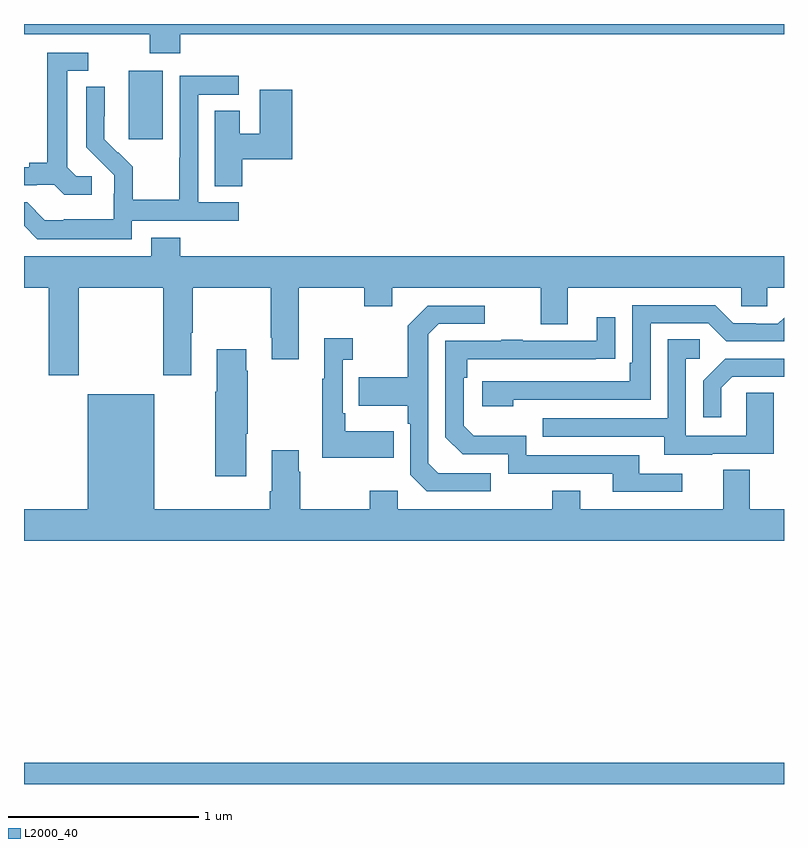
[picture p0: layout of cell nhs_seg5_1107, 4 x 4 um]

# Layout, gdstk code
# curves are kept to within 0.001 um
import gdstk
lib = gdstk.Library(unit=1e-6, precision=1e-09)
def R(c, l, rs):  # rectangles x0, y0, x1, y1
    for r in rs: c.add(gdstk.rectangle(r[:2], r[2:], *l))
def P(c, l, *ps):  # polygons
    for p in ps: c.add(gdstk.Polygon(p, *l))
L2000_40 = (2000, 40)

nhs_seg5_1107 = lib.new_cell('nhs_seg5_1107')
R(nhs_seg5_1107, L2000_40, [(179,868.799,183,868.912), (179.552,872.193,179.731,872.554)])
P(nhs_seg5_1107, L2000_40, [(183,872.799),(179,872.799),(179,872.744),(179.662,872.744),(179.662,872.645),(179.822,872.645),(179.822,872.744),(183,872.744)],
  [(179.356,871.998),(179.274,871.998),(179.227,872.045),(179.227,872.553),(179.338,872.553),(179.338,872.649),(179.123,872.649),(179.123,872.069),(179.027,872.069),(179.027,872.046),(179,872.046),(179,871.95),(179.066,871.95),(179.066,871.953),(179.16,871.953),(179.212,871.901),(179.356,871.901)],
  [(179.568,871.764),(180.13,871.764),(180.13,871.86),(179.916,871.86),(179.916,872.427),(180.13,872.427),(180.13,872.526),(179.82,872.526),(179.82,872.096),(179.818,872.096),(179.818,871.873),(179.573,871.873),(179.573,872.047),(179.496,872.124),(179.493,872.121),(179.423,872.192),(179.424,872.468),(179.328,872.468),(179.328,872.15),(179.474,872.002),(179.474,871.905),(179.472,871.905),(179.472,871.771),(179.209,871.771),(179.209,871.767),(179.109,871.767),(179.016,871.86),(179,871.86),(179,871.738),(179.071,871.667),(179.568,871.667)],
  [(180.149,872.087),(180.413,872.087),(180.413,872.452),(180.242,872.452),(180.242,872.221),(180.136,872.221),(180.136,872.342),(180.005,872.342),(180.005,871.945),(180.149,871.945)],
  [(179.822,871.675),(179.669,871.675),(179.669,871.576),(179,871.576),(179,871.412),(179.129,871.412),(179.129,870.951),(179.289,870.951),(179.289,871.412),(179.734,871.412),(179.734,870.951),(179.881,870.951),(179.881,871.174),(179.889,871.174),(179.889,871.412),(180.298,871.412),(180.298,871.147),(180.305,871.147),(180.305,871.035),(180.445,871.035),(180.445,871.412),(180.79,871.412),(180.79,871.313),(180.937,871.313),(180.937,871.412),(181.721,871.412),(181.721,871.218),(181.861,871.218),(181.861,871.412),(182.775,871.412),(182.775,871.314),(182.913,871.314),(182.913,871.412),(183,871.412),(183,871.576),(179.822,871.576)],
  [(181.574,870.822),(182.298,870.822),(182.298,871.224),(182.601,871.224),(182.697,871.128),(183,871.128),(183,871.254),(182.967,871.221),(182.852,871.221),(182.852,871.224),(182.733,871.224),(182.637,871.32),(182.202,871.32),(182.202,871.015),(182.189,871.015),(182.189,870.918),(181.413,870.918),(181.413,870.788),(181.574,870.788)],
  [(181.456,870.435),(181.179,870.435),(181.128,870.486),(181.128,871.167),(181.182,871.221),(181.426,871.221),(181.426,871.317),(181.125,871.317),(181.02,871.211),(181.02,870.939),(180.763,870.939),(180.763,870.791),(181.02,870.791),(181.02,870.695),(181.032,870.695),(181.032,870.426),(181.119,870.339),(181.456,870.339)],
  [(182.464,870.432),(182.239,870.432),(182.239,870.528),(181.644,870.528),(181.644,870.631),(181.367,870.631),(181.314,870.684),(181.314,870.938),(181.334,870.938),(181.334,871.035),(182.111,871.036),(182.111,871.255),(182.015,871.255),(182.015,871.131),(181.625,871.131),(181.625,871.136),(181.513,871.136),(181.513,871.131),(181.218,871.131),(181.218,870.624),(181.308,870.534),(181.548,870.534),(181.548,870.432),(182.099,870.432),(182.099,870.336),(182.464,870.336)],
  [(180.947,870.655),(180.691,870.655),(180.691,870.751),(180.678,870.751),(180.678,871.031),(180.73,871.031),(180.73,871.144),(180.581,871.144),(180.581,870.931),(180.57,870.931),(180.57,870.515),(180.947,870.515)],
  [(182.623,870.537),(182.947,870.537),(182.947,870.857),(182.802,870.857),(182.802,870.633),(182.484,870.633),(182.484,871.038),(182.557,871.038),(182.557,871.139),(182.388,871.139),(182.388,870.723),(181.729,870.723),(181.729,870.627),(182.369,870.627),(182.369,870.533),(182.623,870.533)],
  [(180.169,870.643),(180.177,870.643),(180.177,870.974),(180.169,870.974),(180.169,871.087),(180.014,871.087),(180.014,870.863),(180.007,870.863),(180.007,870.42),(180.169,870.42)],
  [(182.671,870.885),(182.728,870.942),(183,870.942),(183,871.038),(182.69,871.038),(182.574,870.922),(182.574,870.729),(182.671,870.729)],
  [(183,870.244),(182.821,870.244),(182.821,870.452),(182.681,870.452),(182.681,870.244),(181.927,870.244),(181.927,870.343),(181.78,870.343),(181.78,870.244),(180.966,870.244),(180.966,870.343),(180.82,870.343),(180.82,870.244),(180.453,870.244),(180.453,870.443),(180.445,870.443),(180.445,870.556),(180.305,870.556),(180.305,870.34),(180.293,870.34),(180.293,870.244),(179.686,870.244),(179.686,870.85),(179.336,870.85),(179.336,870.244),(179,870.244),(179,870.08),(183,870.08)])

lib.write_gds('nhs_seg5_1107.gds')
